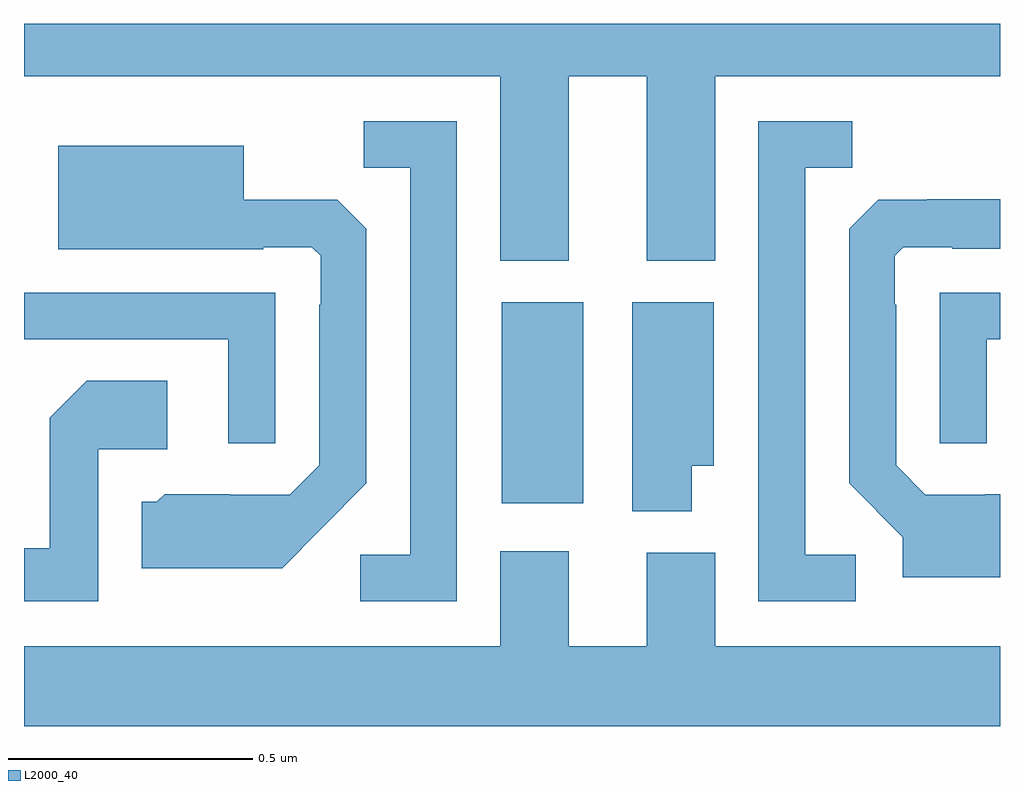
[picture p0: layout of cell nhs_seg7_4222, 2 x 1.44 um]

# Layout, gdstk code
import gdstk
lib = gdstk.Library(unit=1e-6, precision=1e-09)
def R(c, l, rs):  # rectangles x0, y0, x1, y1
    for r in rs: c.add(gdstk.rectangle(r[:2], r[2:], *l))
def P(c, l, *ps):  # polygons
    for p in ps: c.add(gdstk.Polygon(p, *l))
L2000_40 = (2000, 40)

nhs_seg7_4222 = lib.new_cell('nhs_seg7_4222')
R(nhs_seg7_4222, L2000_40, [(169.979,1057.017,170.146,1057.429)])
P(nhs_seg7_4222, L2000_40, [(170.116,1057.892),(170.276,1057.892),(170.276,1057.514),(170.416,1057.514),(170.416,1057.892),(171,1057.892),(171,1058),(169,1058),(169,1057.892),(169.976,1057.892),(169.976,1057.514),(170.116,1057.514)],
  [(170.704,1056.912),(170.601,1056.912),(170.601,1057.705),(170.697,1057.705),(170.697,1057.8),(170.505,1057.8),(170.505,1056.816),(170.704,1056.816)],
  [(169.887,1057.8),(169.696,1057.8),(169.696,1057.705),(169.791,1057.705),(169.791,1056.912),(169.689,1056.912),(169.689,1056.816),(169.887,1056.816)],
  [(169.609,1056.965),(169.701,1057.058),(169.701,1057.58),(169.642,1057.639),(169.45,1057.639),(169.45,1057.75),(169.07,1057.75),(169.07,1057.538),(169.49,1057.538),(169.49,1057.542),(169.59,1057.542),(169.608,1057.524),(169.608,1057.424),(169.605,1057.424),(169.605,1057.095),(169.545,1057.035),(169.422,1057.035),(169.422,1057.036),(169.288,1057.036),(169.272,1057.02),(169.241,1057.02),(169.241,1056.884),(169.529,1056.884)],
  [(171,1057.036),(170.97,1057.036),(170.97,1057.035),(170.847,1057.035),(170.787,1057.095),(170.787,1057.424),(170.784,1057.424),(170.784,1057.524),(170.802,1057.542),(170.902,1057.542),(170.902,1057.539),(171,1057.539),(171,1057.64),(170.851,1057.64),(170.851,1057.639),(170.75,1057.639),(170.691,1057.58),(170.691,1057.058),(170.801,1056.948),(170.801,1056.866),(171,1056.866)],
  [(169.515,1057.449),(169,1057.449),(169,1057.353),(169.419,1057.353),(169.419,1057.14),(169.515,1057.14)],
  [(170.973,1057.353),(171,1057.353),(171,1057.449),(170.877,1057.449),(170.877,1057.14),(170.973,1057.14)],
  [(170.368,1057.094),(170.413,1057.094),(170.413,1057.429),(170.246,1057.429),(170.246,1057.001),(170.368,1057.001)],
  [(169.152,1057.128),(169.294,1057.128),(169.294,1057.268),(169.129,1057.268),(169.053,1057.192),(169.053,1056.925),(169,1056.925),(169,1056.816),(169.152,1056.816)],
  [(169.976,1056.919),(169.976,1056.724),(169,1056.724),(169,1056.56),(171,1056.56),(171,1056.724),(170.416,1056.724),(170.416,1056.916),(170.276,1056.916),(170.276,1056.724),(170.116,1056.724),(170.116,1056.919)])

lib.write_gds('nhs_seg7_4222.gds')
